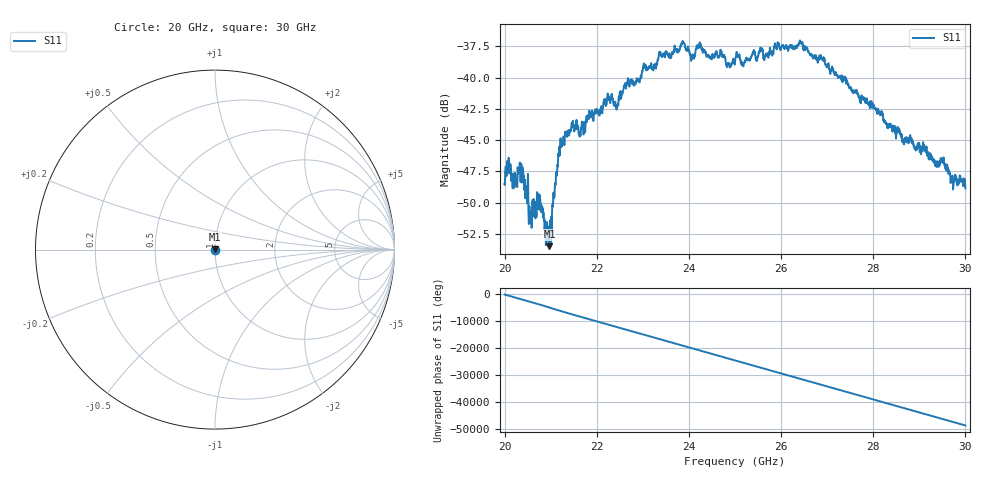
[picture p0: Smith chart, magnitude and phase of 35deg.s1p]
#  HZ  S  RI  R  50.00
! Rohde & Schwarz ZVA40 4Ports - Version 3.90 - 1145.1110k42 SN: 100403
! Date: 2023-10-03 11:50:27
! Measurement: S12
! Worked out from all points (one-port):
!   5001 points, 20 GHz to 30 GHz, reference 50 ohm
!   lowest |S11| = -53.5 dB at 20.97 GHz (marker M1), VSWR 1.00, Z = 50 + j0.21 ohm
!   |S11| at or under -10 dB: start of sweep to end of sweep
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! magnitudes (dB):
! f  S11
! 20 GHz  -48.5
! 20.09 GHz  -46.4
! 20.22 GHz  -47.7
! 20.37 GHz  -47.4
! 20.56 GHz  -51.1
! 20.75 GHz  -50.5
! 20.9 GHz  -53.1
! 20.97 GHz  -53.5
! 21.17 GHz  -46.1
! 21.25 GHz  -45.3
! 21.46 GHz  -43.6
! 21.67 GHz  -43.9
! 22.2 GHz  -42.2
! 22.42 GHz  -42.3
! 22.5 GHz  -41.2
! 23.03 GHz  -38.9
! 23.75 GHz  -37.7
! 23.88 GHz  -37.2
! 24.09 GHz  -38.1
! 24.22 GHz  -37.6
! 24.87 GHz  -38.9
! 25 GHz  -38.8
! 26.25 GHz  -37.6
! 26.42 GHz  -37.2
! 26.88 GHz  -38.5
! 27.5 GHz  -40.8
! 28.75 GHz  -45.0
! 30 GHz  -48.9
